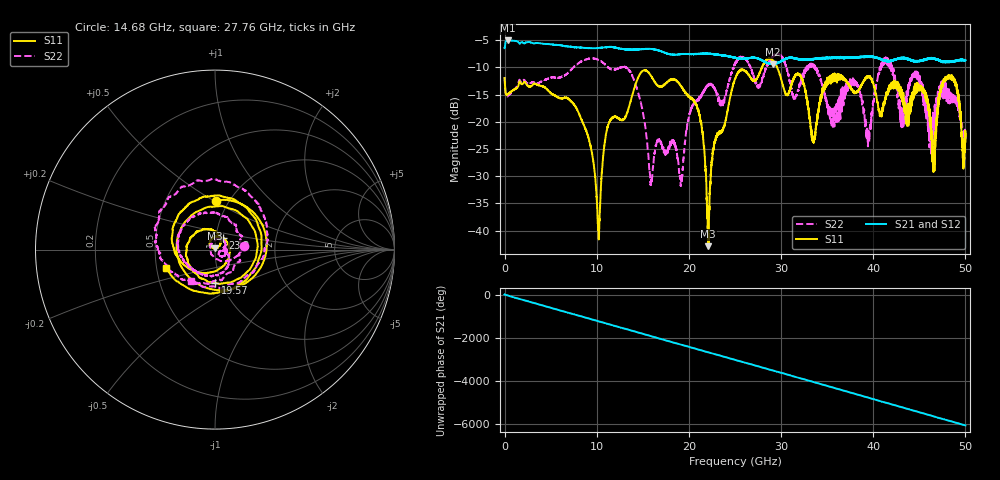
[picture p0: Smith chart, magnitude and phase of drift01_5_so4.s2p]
!Created with skrf (http://scikit-rf.org).
# Hz S RI R 50.0
!freq ReS11 ImS11 ReS21 ImS21 ReS12 ImS12 ReS22 ImS22
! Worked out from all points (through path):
!   10001 points, 300 kHz to 50 GHz, reference 50 ohm
!   highest |S21| = -5.05 dB at 325.3 MHz (marker M1); lowest = -9.4 dB at 29.08 GHz (marker M2)
!   group delay of S21, straight-line fit = 336 ps
!   lowest |S11| = -42.9 dB at 22.09 GHz (marker M3), VSWR 1.01, Z = 49.8 + j0.687 ohm
!   |S11| at or under -10 dB: start of sweep to 27.92 GHz; 29.58 GHz to end of sweep
!   |S22| runs from -31.8 to -7.4 dB; largest |S21 - S12| = 0.012
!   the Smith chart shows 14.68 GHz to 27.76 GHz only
!   S11 on the Smith chart (normalised r, x): 14.68 GHz: 0.87, +0.51; 19.57 GHz: 0.94, -0.36; 23.2 GHz: 1.08, +0.14; 27.76 GHz: 0.56, -0.13
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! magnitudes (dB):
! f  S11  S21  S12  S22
! 300 kHz  -12.0  -6.5  -6.5  -11.8
! 325.3 MHz  -15.0  -5.1  -5.1  -15.3
! 8.335 GHz  -19.6  -6.4  -6.4  -8.9
! 10.2 GHz  -40.9  -6.4  -6.4  -8.6
! 11.23 GHz  -20.7  -6.3  -6.3  -10.0
! 14.68 GHz  -11.3  -6.7  -6.7  -15.8
! 15.87 GHz  -11.5  -6.6  -6.6  -31.5
! 16.67 GHz  -13.4  -6.9  -6.9  -23.2
! 19.57 GHz  -14.6  -7.5  -7.6  -23.9
! 21.2 GHz  -19.1  -7.5  -7.5  -15.6
! 22.09 GHz  -42.9  -7.5  -7.5  -13.3
! 23.2 GHz  -22.3  -7.7  -7.7  -15.9
! 25 GHz  -12.1  -8.2  -8.3  -9.5
! 27.76 GHz  -10.6  -8.6  -8.6  -13.1
! 29.08 GHz  -8.7  -9.4  -9.4  -7.9
! 33.34 GHz  -22.9  -8.5  -8.5  -9.6
! 39.47 GHz  -11.7  -8.1  -8.0  -22.4
! 41.67 GHz  -13.9  -8.8  -8.8  -8.9
! 45.35 GHz  -14.0  -8.7  -8.7  -14.1
! 46.55 GHz  -29.2  -8.4  -8.3  -19.9
! 48.52 GHz  -11.7  -8.9  -9.0  -15.0
! 50 GHz  -22.6  -8.7  -8.7  -23.2
